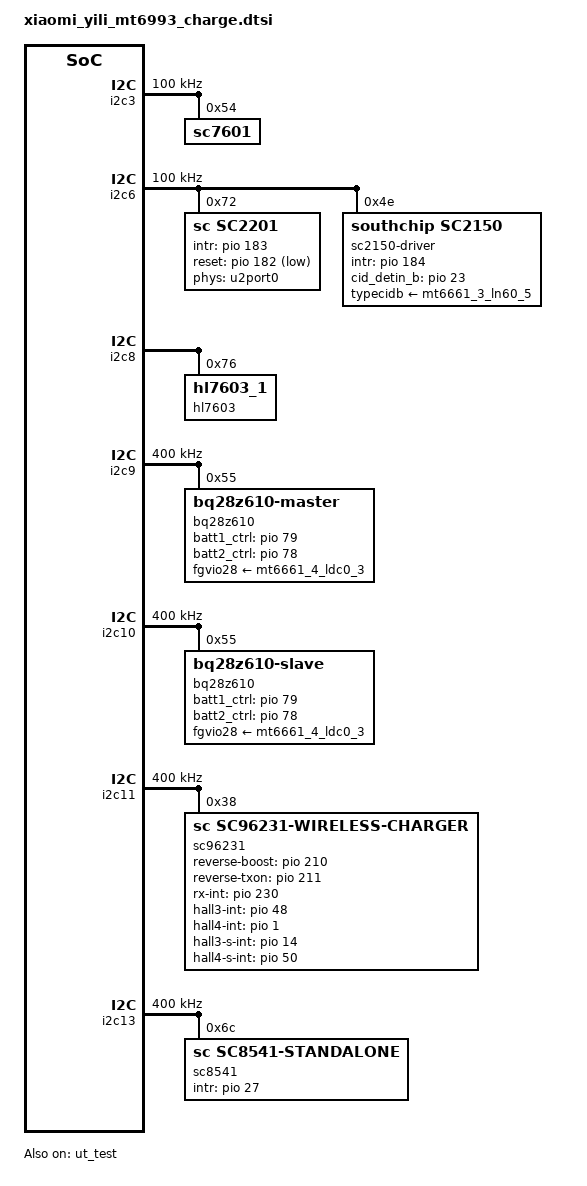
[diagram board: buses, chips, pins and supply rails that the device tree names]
// SPDX-License-Identifier: (GPL-2.0 OR MIT)
/*
 * Copyright (C) 2024 MediaTek Inc.
 */

#include <dt-bindings/power/mtk-charger.h>

&pio {
	status = "okay";
	charger_third_pd_phy: charger-third-pd-phy {
		pins_cmd_dat {
			pinmux = <PINMUX_GPIO183__FUNC_GPIO183>;
			bias-pull-up;
			input-enable;
		};
	};
	charger_load_switch: charger-load-switch {
		pins_cmd_dat {
			pinmux = <PINMUX_GPIO70__FUNC_SCL3>,
			<PINMUX_GPIO71__FUNC_SDA3>;
			bias-pull-up = <MTK_PULL_SET_RSEL_101>;
		};
	};
};

/* charger start */
&rt_pd_manager {
	nr-port = <2>;
	en-wd0-port0;
};

&pd_adapter {
	nr-port = <2>;
};

&mt6379_typec {
	nr-port = <2>;
	tcpc,en_floatgnd;
	/* 0:16x, 1:128x, 2:512x, 3:1024x */
	wd,wd0_tsleep = <1>;
	/* 0:400us, 1:1ms, 2:2ms, 3:4ms, 4:10ms, 5:40ms, 6:100ms, 7:400ms */
	wd,wd0_tdet = <3>;
	/* example wd0_tsleep = 512x, wd0_tdet = 4ms, wd0 polling time = 512*4ms */
	pd-data {
		pd,source-pdo-data = <0x00019064>;
	};
};

&mtk_ctd {
	nr-port = <2>;
	chg-name-port1 = "primary_chg";
	bc12-sel-port1 = <MTK_CTD_BY_SUBPMIC>;
	bc12-psy-port1 = <&mt6379_chg>;
};

&i2c3 {
	clock-frequency = <100000>;
	status = "okay";
	sc7601@54 {
		compatible = "sc7601";
		ic_role = <0>;
		reg = <0x54>;
		bat-ovp-threshold = <5500>;
		pre-chg-curr = <100>;
		vfc-chg-volt = <3100>;
		limit-chg-curr = <2950>;
		pinctrl-names = "charger_load_switch";
		pinctrl-0 = <&charger_load_switch>;
	};
};

&i2c6 {
	status = "okay";
	clock-frequency = <100000>;
	sc2201@72 {
		compatible = "sc,sc2201";
		reg = <0x72>;
		sc2201,intr-gpio = <&pio 183 IRQ_TYPE_EDGE_FALLING>;
		sc2201,reset-gpio = <&pio 182 0x1>;
		sc,sc2201,wd_timeout = <0>;
		sc,sc2201,dpdm_en = <0>;
		pinctrl-names = "charger_third_pd_phy";
		pinctrl-0 = <&charger_third_pd_phy>;
		phys = <&u2port0 PHY_TYPE_USB2>;
		phy-names = "usb2-phy";
		usb = <&ssusb>;
	};

	sc2150-driver@4e{
		compatible = "southchip,sc2150";
		reg = <0x4e>;
		status = "okay";
		sc-tcpc,name = "type_c_port1"; /* tcpc_device's name */
		sc-tcpc,role_def = <5>; /* 0: Unknown, 1: SNK, 2: SRC */
					/* 3: DRP, 4: Try.SRC, 5: Try.SNK */
		sc-tcpc,rp_level = <1>; /* 0: Default, 1: 1.5, 2: 3.0 */
		sc-tcpc,vconn_supply  = <1>;  /* 0: Never, 1: Always, */
					      /* 2: EMarkOnly, 3: StartOnly */
		sc-tcpc,notifier_supply_num = <2>;
		sc2150,intr-gpio = <&pio 184 IRQ_TYPE_EDGE_FALLING>;
		cid_detin_b = <&pio 23 IRQ_TYPE_EDGE_BOTH>;
		typecidb-supply = <&mt6661_3_ln60_5>;

		pd-data {
			pd,vid = <0x2717>;
			pd,pid = <0x209e>;
			pd,source-cap-ext = /bits/ 8 <0x17 0x27 0x9e 0x20
								0x00 0x00 0x00 0x00
								0x00 0x00 0x00 0x00
								0x00 0x00 0x00 0x00
								0x00 0x00 0x00 0x00
								0x00 0x00 0x01 0x05
								0x00>;
			pd,sink-cap-ext = /bits/ 8 <0x17 0x27 0x9e 0x20
								0x00 0x00 0x00 0x00
								0x01 0x00 0x00 0x00
								0x00 0x00 0x00 0x00
								0x01 0x00 0x00 0x00
								0x00 0x00 0x00 0x00>;
			pd,mfrs = "SouthChip";

			/*
			 *	VSAFE5V = 0, MAX_POWER = 1, CUSTOM = 2,
			 *	MAX_POWER_LV = 0x21, MAX_POWER_LVIC = 0x31
			 *	MAX_POWER_HV = 0x41, MAX_POWER_HVIC = 0x51
			 */
			pd,charging_policy= <0x31>;

			/*
			 * Fixed 5V, 500 mA <0x00019032>
			 * Fixed 5V, 1A <0x00019064>
			 * Fixed 5V, 2A <0x000190c8>
			 * Fixed 5V, 3A <0x0001912c>
			 * Fixed 9V, 500 mA <0x0002d032>
			 * Fixed 9V, 1A <0x0002d064>
			 * Fixed 9V, 2A <0x0002d0c8>
			 * Fixed 9V, 3A <0x0002d12c>
			 * Variable 5-9V, 1A <0x8642d064>
			 * Variable 5-9V, 2A <0x8642d0c8>
			 * Variable 5-9V, 3A <0x8642d12c>
			 * PPS 3V~5.9V, 3A <0xC0761E3C>
			 */
			pd,source-pdo-size = <1>;
			/* Fixed 5V,1A */
			pd,source-pdo-data = <0x36019064>;
			pd,sink-pdo-size = <1>;
			pd,sink-pdo-data = <0x260190c8>;
			/*0110 1110 0011 0010
			 * No DP, host + device
			 *	pd,id-vdo-size = <6>;
			 *	pd,id-vdo-data = <0xd1402717 0x0 0x17110000
						  0x61000000 0x0 0x41000000>;
			 * With DP
			 *	pd,id-vdo-size = <6>;
			 *	pd,id-vdo-data = <0xd54029cf 0x0 0x17110000
						  0x61000000 0x0 0x41000000>;
			 */

			pd,id-vdo-size = <4>;
			pd,id-vdo-data = <0x81402717 0x0 0x209e0200 0x41000000>;

			bat,nr = <1>;
			pd,country_nr = <0>;

			bat-info0 {
				bat,vid = <0x2717>;
				bat,pid = <0x209e>;
				bat,mfrs = "bat1";
				bat,design_cap = <3000>;
			};

		};
		dpm_caps {
			local_dr_power;
			local_dr_data;
			//local_ext_power;
			local_usb_comm;
			//local_usb_suspend;
			//local_high_cap;
			//local_give_back;
			local_no_suspend;
			local_vconn_supply;

			//attempt_discover_cable_dfp;
			//attempt_enter_dp_mode;
			attempt_discover_cable;
			attempt_discover_id;
			attempt_discover_svid;

			/* 0: disable, 1: prefer_snk, 2: prefer_src */
			pr_check = <0>;
			//pr_reject_as_source;
			//pr_reject_as_sink;
			//pr_check_gp_source;
			//pr_check_gp_sink;

			/* 0: disable, 1: prefer_ufp, 2: prefer_dfp */
			dr_check = <0>;
			//dr_reject_as_dfp;
			dr_reject_as_ufp;
		};
		displayport {
			/* connection type = "both", "ufp_d", "dfp_d" */
			1st_connection = "dfp_d";
			2nd_connection = "dfp_d";
			signal,dp_v13;
			//signal,dp_gen2;
			//usbr20_not_used;
			typec,receptacle;
			ufp_d {
				//pin_assignment,mode_a;
				//pin_assignment,mode_b;
				//pin_assignment,mode_c;
				//pin_assignment,mode_d;
				//pin_assignment,mode_e;
			};
			dfp_d {
				//pin_assignment,mode_a;
				//pin_assignment,mode_b;
				pin_assignment,mode_c;
				pin_assignment,mode_d;
				pin_assignment,mode_e;
				//pin_assignment,mode_f;
			};
		};
	};
};

&i2c8 {
	status = "ok";
	hl7603@76 {
		compatible = "hl7603_1";
		reg = <0x76>;
		vout_threshold = <4800>;
	};
};

&i2c9 {
	clock-frequency = <400000>;
	status = "okay";
	bq28z610@55 {
		compatible = "bq28z610-master";
		reg = <0x55>;
		enable_shutdown_delay;
		max_chg_power_120w;
		normal_shutdown_vbat_1s = <3200>;
		critical_shutdown_vbat_1s = <3250>;
		cool_critical_shutdown_vbat_1s = <3250>;
		old_critical_shutdown_vbat_1s = <3250>;
		report_full_rsoc_1s = <9500>;
		soc_gap_1s = <2>;
		ic_role = <0>;
		batt1_ctrl_gpio = <&pio 79 0x0>;
		batt2_ctrl_gpio = <&pio 78 0x0>;
		fgvio28-supply = <&mt6661_4_ldc0_3>;
		/*pinctrl-names = "slave_connect_cfg";*/
		/*pinctrl-0 = <&slave_connect_cfg>;*/
		soc_decimal_rate = <
			0  38
			10 35
			20 33
			30 33
			40 33
			50 33
			60 33
			70 30
			80 25
			90 20
			95 10 >;
		fg-type = <1>;
	};
};

&i2c10 {
	clock-frequency = <400000>;
	status = "okay";
	bq28z610@55 {
		compatible = "bq28z610-slave";
		reg = <0x55>;
		enable_shutdown_delay;
		max_chg_power_120w;
		normal_shutdown_vbat_1s = <3200>;
		critical_shutdown_vbat_1s = <2960>;
		cool_critical_shutdown_vbat_1s = <2940>;
		old_critical_shutdown_vbat_1s = <2940>;
		report_full_rsoc_1s = <9500>;
		soc_gap_1s = <2>;
		ic_role = <1>;
		batt1_ctrl_gpio = <&pio 79 0x0>;
		batt2_ctrl_gpio = <&pio 78 0x0>;
		fgvio28-supply = <&mt6661_4_ldc0_3>;
		/*pinctrl-names = "slave_connect_cfg";*/
		/*pinctrl-0 = <&slave_connect_cfg>;*/
		soc_decimal_rate = <
			0  38
			10 35
			20 33
			30 33
			40 33
			50 33
			60 33
			70 30
			80 25
			90 20
			95 10 >;
		fg-type = <1>;
	};
};

&i2c11 {
	status = "okay";
	clock-frequency = <400000>;
	scl-gpio-id = <160>;
	sda-gpio-id = <161>;
	sc96231@38{
		compatible = "sc,sc96231-wireless-charger";
		reg = <0x38>;
		project_vendor = <2>;
		fw_version_index = <0>;
		reverse-boost-gpio = <&pio 210 0x0>;
		reverse-txon-gpio = <&pio 211 0x0>;
		rx-int = <&pio 230 IRQ_TYPE_EDGE_FALLING>;
		hall3-int = <&pio 48 IRQ_TYPE_EDGE_FALLING>;
		hall4-int = <&pio 1 IRQ_TYPE_EDGE_FALLING>;
		hall3-s-int = <&pio 14 IRQ_TYPE_EDGE_FALLING>;
		hall4-s-int = <&pio 50 IRQ_TYPE_EDGE_FALLING>;
	};
};

&charger {
	max_charger_voltage = <12000000>;
	/* charging current */
	usb_charger_current = <500000>;
	ac_charger_current = <1600000>;
	ac_charger_input_current = <1600000>;
	charging_host_charger_current = <900000>;
	step_fallback_hyst = <25>;
	step_forward_hyst = <0>;
	jeita_fallback_hyst = <10>;
	jeita_forward_hyst = <10>;
	mt6661_moscon1_control;
	mt6661_moscon2_control;
	pmic_ffc_forbid;
	en_floatgnd;
	smart_snschg_v2_support;
	pd2_input_current = <1700000>;
	min_charger_voltage_1 = <4200000>;
	min_charger_voltage_2 = <4500000>;
	sbu_uart_en = <&pio 24 0x0>;
	ffc_low_tbat = <180>;
	ffc_medium_tbat = <300>;
	ffc_warm_tbat = <350>;
	ffc_little_high_tbat = <400>;
	ffc_high_tbat = <480>;
	ffc_high_soc = <95>;
	adapter_power = <66>;
	support_quick_revchg;
	wlschg_chip_vendor = <2>;
	normal_cutoff_margin_mv = <10>;
	step_normal_chg;
	support_pchg_policy;
	support_low_ibat_switch_buck;

	/* low power charger termination adjust parameter*/
	support-lp-chgr-term-adjust;
	lp-chgr-vterm-drop = <10>;
	lp-chgr-iterm = <150>;

	/* CN battery paremeter */
	fv = <4530>;
	fv_normal = <4510>;
	fv_normal_warm = <4510>;  /* 35 - 40C */
	fv_normal_high = <4510>;  /* 40 - 48C */
	fv_ffc = <4560>;
	iterm = <240>;
	iterm_warm = <240>;
	slave_batt_iterm = <238>;
	slave_batt_iterm_warm = <238>;

	jeita_fcc_cfg = <(-100)	30	4150	897	897
			31	80	4150	1792	1792
			81	130	4150	4481	4481
			131	180	4150	7168	7168
			181	470	4150	12400	12400
			471	600	4090	4481	4481>;
	jeita_fv_cfg = <(-100)	30	4530
			31	80	4530
			81	130	4530
			131	180	4530
			181	470	4560
			471	600	4090>;

	flip_jeita_fcc_cfg = <(-100)	30	4150	446	446
			31	80	4150	891	891
			81	130	4150	2228	2228
			131	180	4150	3564	3564
			181	470	4150	6900	6900
			471	600	4090	2228	2228>;
	flip_jeita_fv_cfg = <(-100)	30	4530
			31	80	4530
			81	130	4530
			131	180	4530
			181	470	4560
			471	600	4090>;

	/* 1-100cls */
	step_chg_cfg_1_cycle = <3000	4143	12400
				4144	4343	10300
				4344	4393	8400
				4394	4523	8400
				4524	4560	7168>;
	flip_step_chg_cfg_1_cycle = <3000	4143	6900
				4144	4343	5600
				4344	4393	4455
				4394	4523	4455
				4524	4560	3564>;
	iterm_ffc_1_cycle = <940>;
	iterm_ffc_little_warm_1_cycle = <940>;
	iterm_ffc_warm_1_cycle = <1437>;
	iterm_ffc_hot_1_cycle = <1437>;

	slave_batt_iterm_ffc_1_cycle = <930>;
	slave_batt_iterm_ffc_little_warm_1_cycle = <930>;
	slave_batt_iterm_ffc_warm_1_cycle = <1422>;
	slave_batt_iterm_ffc_hot_1_cycle = <1422>;

	/* 100-300cls */
	step_chg_cfg_100_cycle = <3000	4120	12400
				4121	4320	9740
				4321	4400	7912
				4401	4500	7912
				4501	4540	6810>;
	flip_step_chg_cfg_100_cycle = <3000	4120	6900
				4120	4320	5320
				4321	4400	4232
				4401	4500	4232
				4501	4540	3386>;

	/* 300-800cls */
	step_chg_cfg_300_cycle = <3000	4120	12400
				4121	4320	9280
				4321	4400	7564
				4401	4500	7564
				4501	4520	6451>;
	flip_step_chg_cfg_300_cycle = <3000	4120	6900
				4121	4320	5040
				4321	4400	4010
				4401	4500	4010
				4501	4520	3208>;

	/* > 800cls */
	step_chg_cfg_800_cycle = <3000	4100	9920
				4101	4300	8160
				4301	4400	6668
				4401	4480	6668
				4481	4500	5734>;
	flip_step_chg_cfg_800_cycle = <3000	4100	5520
				4101	4300	4480
				4301	4400	3564
				4401	4480	3564
				4481	4500	2851>;

	/* -------------------- normal step start ------------------ */
	/* 18-48C cycle step */
	/* 1 - 100cls */
	step_normal_chg_cfg_1_cycle = <
		3000	4150	12400
		4151	4510	6868 >;
	flip_step_normal_chg_cfg_1_cycle = <
		3000	4150	6900
		4151	4510	3564 >;

	/* 100 - 300cls */
	step_normal_chg_cfg_100_cycle = <
		3000	4120	12400
		4121	4490	6510>;
	flip_step_normal_chg_cfg_100_cycle = <
		3000	4120	6900
		4121	4490	3386>;
	/* 300 - 800cls */
	step_normal_chg_cfg_300_cycle = <
		3000	4120	12400
		4121	4470	6151>;
	flip_step_normal_chg_cfg_300_cycle = <
		3000	4120	6900
		4121	4470	3208 >;

	/* > 800cls */
	step_normal_chg_cfg_800_cycle = <
		3000	4100	9920
		4101	4450	5434>;
	flip_step_normal_chg_cfg_800_cycle = <
		3000	4100	5520
		4101	4450	2851>;
	/* --------------------- normal step end -------------------- */

	thermal_limit_dcp = <1900 1900 1900 1900 1900 1900 1900 1900 1900 1900 1900 1900 1500 1400 1200 1000>;
	thermal_limit_qc2 = <2500 2500 2500 2500 2500 2500 2500 2500 2500 2500 2500 2000 1500 1500 1000 500>;
	thermal_limit_qc3_18w = <2500 2500 2500 2500 2500 2500 2400 2300 2200 2100 1500 1000 800 700 600 500>;
	thermal_limit_qc3_27w = <2500 2500 2500 2500 2500 2500 2400 2300 2200 2100 1500 1000 800 700 600 500>;
	thermal_limit_qc35 = <2500 2500 2500 2500 2500 2500 2400 2300 2200 2100 1500 1000 800 700 600 500>;
	thermal_limit_pd = <12400 10500 9000 8000 7000 6200 5500 5000 4400 3600 3000 2500 2000 1500 1000 700>;

	smart_bypass_support;
	smart_bypass_entry_soc = <40>;
	smart_bypass_exit_soc = <90>;
	smart_bypass_fallback_hyst = <5>; // board_temp(0.1 degree) hyst
	smart_bypass_forward_hyst = <5>;
	smart_bypass_high_lmt_cfg = <(-100)	250	3000
			251	280	2500
			281	300	2000
			301	330	1600
			331	370	1200
			371	800	900>;
	smart_bypass_med_lmt_cfg = <(-100)	150	12400
			151	200	12400
			201	250	12400
			251	300	6200
			301	370	4400
			371	800	2000>;
	smart_bypass_low_lmt_cfg = <(-100)	150	12400
			151	200	12400
			201	250	12400
			251	300	12400
			301	370	12400
			371	800	12400>;
	/* usb_vendor_id, product_vdo, max_power, en_cp, max_vol, max_curr */
	third_pps_charger_para = <
		0x2B01 0x0000A819 100 1 11000 4500    // 酷泰科140W-AD1404U or 米家户外1000pro
		0x2B01 0x0000A819 55  1 11000 3500    // 小米充电宝-PB2050ZM
		0x12D1 0x00000000 94  1 11000 3500    // 华为90W-200450CP0
		0x2B01 0x00005B15 120 1 11000 4500    // P03MI
		0x2B01 0x0000A819 120 1 11000 4500>;  // 小米165W充电宝
};

&strategy_fg{
	compatible = "xiaomi,strategy_fg";
	enable_shutdown_delay;
	normal_shutdown_vbat_1s = <3200>;
	critical_shutdown_vbat_1s = <3250>;
	cool_critical_shutdown_vbat_1s = <3250>;
	old_critical_shutdown_vbat_1s = <3250>;
	report_full_rsoc_1s = <9700>;
	soc_gap_1s = <2>;
	fg_type = <1>;
	cool_threshold = <180>;
};

&pd_cp_manager {
	compatible = "pd_cp_manager";
	fv = <4530>;
	fv_ffc = <4580>;
	max_fcc = <12400>;
	max_vbus = <12000>;
	max_ibus = <6200>;
	fcc_low_hyst = <120>;
	fcc_high_hyst = <(-30)>;
	low_tbat = <100>;
	high_tbat = <480>;
	high_vbat = <4400>;
	high_soc = <95>;
	low_fcc = <2000>;
	cv_vbat = <4510>;
	cv_vbat_ffc = <4560>;
	cv_ibat = <2000>;
	min_pdo_vbus = <8000>;
	max_pdo_vbus = <11000>;
	support_pmic_parachg;
	switch1_1_enter = <3100>;
	switch1_1_exit = <4100>;
	switch2_1_enter = <4500>;
	switch2_1_exit = <12500>;
	pdm_ibus_gap = <0>;
	pdm_bypass_ibus_gap = <2600>;
	adapter_power = <66>;
	fv_hyst = <7>;
	support_pchg_policy;
};

&mtk_gauge{
	DISABLE_MTKBATTERY = <(1)>;

	temperature-t0 = <(50)>;
	/* Battery temperature T0 */
	temperature-t1 = <(25)>;
	/* Battery temperature T1 */
	temperature-t2 = <(10)>;
	/* Battery temperature T2 */
	temperature-t3 = <(0)>;
	/* Battery temperature T3 */
	temperature-t4 = <(-10)>;
	/* Battery temperature T4 */
	temperature-t5 = <(-20)>;
	/* Battery temperature T5 */
	active-table = <(6)>;
	#include "yili_battery_table_ext.dtsi"
};

&i2c13 {
	clock-frequency = <400000>;
	status = "okay";
	sc8541@6C{
		compatible = "sc,sc8541-standalone";
		reg = <0x6C>;
		interrupt-parent = <&pio>;
		sc8541,intr_gpio = <&pio 27 IRQ_TYPE_EDGE_FALLING>;
		charger_name = "primary_dvchg";
		charger_name_v4_19 = "primary_divider_chg";
		sc,sc8541,vbat-ovp-dis = <0>;
		sc,sc8541,vbat-ovp = <90>; /*3840 + val * 10*/
		sc,sc8541,vbat-ovp-alm-dis = <1>;
		sc,sc8541,vbat-ovp-alm = <70>; /*3840 + val * 10*/
		sc,sc8541,ibat-ocp-dis = <0>;
		sc,sc8541,ibat-ocp  = <127>; /*val * 100*/
		sc,sc8541,ibat-ocp-alm-dis = <1>;
		sc,sc8541,ibat-ocp-alm = <80>; /*val * 100*/
		sc,sc8541,ibus-ucp-dis = <0>;
		sc,sc8541,vbus-in-range-dis = <0>;
		sc,sc8541,vbus-pd-en = <0>;
		sc,sc8541,vbus-ovp = <0>; /*7000 + val * 50*/
		sc,sc8541,vbus-ovp-alm-dis = <1>;
		sc,sc8541,vbus-ovp-alm = <80>; /*7000 + val * 50*/
		sc,sc8541,ibus-ocp-dis = <0>;
		sc,sc8541,ibus-ocp = <21>; /*1000 + val * 250*/
		sc,sc8541,tshut-dis = <1>;
		sc,sc8541,tsbus-flt-dis = <1>;
		sc,sc8541,tsbat-flt-dis = <1>;
		sc,sc8541,tdie-alm = <200>; /*25 + val * 0.5*/
		sc,sc8541,tsbus-flt = <21>;
		sc,sc8541,tsbat-flt = <21>;
		sc,sc8541,vac1-ovp = <3>; /*0:6.5V 1:10.5V 2:12V 3:14V 4:16V 5~7:18V*/
		sc,sc8541,vac2-ovp = <3>; /*0:6.5V 1:10.5V 2:12V 3:14V 4:16V 5~7:18V*/
		sc,sc8541,vac1-pd-en = <0>;
		sc,sc8541,vac2-pd-en = <0>;
		sc,sc8541,fsw-set = <4>; /*0:200KHz 1:300KHz 2:400KHz
				3:500KHz 4:600KHz 5:650KHz 6:700KHz 7:750KHz*/
		sc,sc8541,wd-timeout = <0>; /*0:0.5s 1:1s 2:5s 3:30s*/
		sc,sc8541,wd-timeout-dis = <1>;
		sc,sc8541,ibat-sns-r = <0>; /*0:2mho 1:5mho*/
		sc,sc8541,ss-timeout = <7>; /*0:6.25ms 1:12.5ms 2:25ms 3:50ms
				4:100ms 5:400ms 6:1.5s 7:10s*/
		sc,sc8541,ibus-ucp-fall-dg = <1>;
		sc,sc8541,vout-ovp-dis = <0>;
		sc,sc8541,vout-ovp = <3>; /*4700 + val * 100*/
		sc,sc8541,pmid2out-uvp = <7>; /*50 + val * 25*/
		sc,sc8541,pmid2out-ovp = <7>; /*200 + val * 50*/
		project_vendor = <2>;
	};
};

&mt6661_4_ldc0_3 {
	regulator-always-on;
};

&lk_charger {
	non-std-ac-charger-current = <1000000>;
	ac-charger-current = <1600000>;
	ac-charger-input-current = <2000000>;
	/* battery temperature protection */
	temp-t4-threshold = <60>;
	temp-t3-threshold = <45>;
	temp-t1-threshold = <(-10)>;
	boot-battery-voltage-max = <3650000>;
	boot-battery-voltage = <3400000>;
	pre-charger-current = <550000>;
	max-charger-voltage = <12500000>;
	boot-voltage-level = <3200 3200 3200 3200 3400>;
	ta-capability-level = <1900 1350 850 500 0>;
	extrem-boot-battery-voltage = <3100000>;
};

&ut_test {
	compatible = "charge,ut-test";
	status = "okay";

	mi,lossless_rechg;
	mi,cycle_volt = "0,100,4150,4350,4530,4560,100,300,4120,4320,4500,4540,300,800,4120,4320,4500,4520,800,10000,4100,4300,4480,4500";
	mi,cycle_step_curr= "0,100,12400,10300,8400,7168,100,300,12400,9740,7912,6810,300,800,12400,9280,7564,6451,800,10000,9920,8160,6668,5734";
	mi,temp_term_curr = "big-small,18,35,856,846,35,48,1306,1292";
	mi,thermal = "12400,10500,9000,8000,7000,6200,5500,5000,4400,3600,3000,2500,2000,1500,1000,700";
};


/* charger end */
